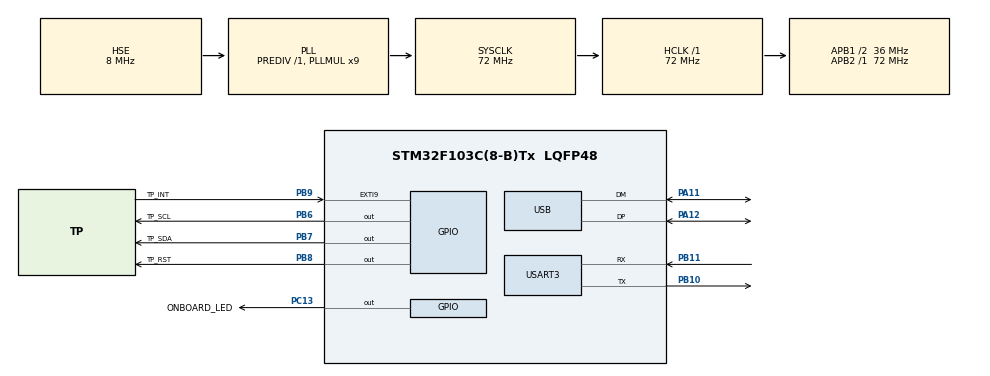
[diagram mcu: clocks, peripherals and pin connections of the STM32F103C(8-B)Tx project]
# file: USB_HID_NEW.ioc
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Mcu.Family=STM32F1
Mcu.Name=STM32F103C(8-B)Tx
Mcu.Package=LQFP48
NVIC.EXTI9_5_IRQn=true\:5\:0\:true\:false\:true\:true\:true\:true
NVIC.PriorityGroup=NVIC_PRIORITYGROUP_4
NVIC.USB_LP_CAN1_RX0_IRQn=true\:0\:0\:false\:false\:true\:false\:true\:true
PA11.Mode=Device
PA11.Signal=USB_DM
PA12.Mode=Device
PA12.Signal=USB_DP
PA13.Mode=Serial_Wire
PA13.Signal=SYS_JTMS-SWDIO
PA14.Mode=Serial_Wire
PA14.Signal=SYS_JTCK-SWCLK
PB10.Mode=Asynchronous
PB10.Signal=USART3_TX
PB11.Mode=Asynchronous
PB11.Signal=USART3_RX
PB6.GPIO_Label=TP_SCL
PB6.GPIO_ModeDefaultOutputPP=GPIO_MODE_OUTPUT_OD
PB6.GPIO_PuPd=GPIO_NOPULL
PB6.GPIO_Speed=GPIO_SPEED_FREQ_LOW
PB6.PinState=GPIO_PIN_SET
PB6.Signal=GPIO_Output
PB7.GPIO_Label=TP_SDA
PB7.GPIO_ModeDefaultOutputPP=GPIO_MODE_OUTPUT_OD
PB7.GPIO_PuPd=GPIO_NOPULL
PB7.GPIO_Speed=GPIO_SPEED_FREQ_LOW
PB7.PinState=GPIO_PIN_SET
PB7.Signal=GPIO_Output
PB8.GPIO_Label=TP_RST
PB8.PinState=GPIO_PIN_SET
PB8.Signal=GPIO_Output
PB9.GPIO_Label=TP_INT
PB9.GPIO_PuPd=GPIO_PULLDOWN
PB9.Signal=GPXTI9
PC13-TAMPER-RTC.GPIO_Label=ONBOARD_LED
PC13-TAMPER-RTC.GPIO_PuPd=GPIO_NOPULL
PC13-TAMPER-RTC.Signal=GPIO_Output
PD0-OSC_IN.Mode=HSE-External-Oscillator
PD0-OSC_IN.Signal=RCC_OSC_IN
PD1-OSC_OUT.Mode=HSE-External-Oscillator
PD1-OSC_OUT.Signal=RCC_OSC_OUT
ProjectManager.HeapSize=0x200
ProjectManager.StackSize=0x400
ProjectManager.TargetToolchain=STM32CubeIDE
RCC.AHBFreq_Value=72000000
RCC.APB1CLKDivider=RCC_HCLK_DIV2
RCC.APB1Freq_Value=36000000
RCC.APB1TimFreq_Value=72000000
RCC.APB2Freq_Value=72000000
RCC.APB2TimFreq_Value=72000000
RCC.HCLKFreq_Value=72000000
RCC.PLLMUL=RCC_PLL_MUL9
RCC.SYSCLKFreq_VALUE=72000000
RCC.SYSCLKSource=RCC_SYSCLKSOURCE_PLLCLK
RCC.USBFreq_Value=48000000
RCC.USBPrescaler=RCC_USBCLKSOURCE_PLL_DIV1_5
USART3.VirtualMode=VM_ASYNC
USB_DEVICE.CLASS_NAME_FS=HID
USB_DEVICE.VirtualMode=Hid
USB_DEVICE.VirtualModeFS=Hid_FS
VP_USB_DEVICE_VS_USB_DEVICE_HID_FS.Mode=HID_FS
board=custom

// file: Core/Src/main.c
/* USER CODE BEGIN Header */
/**
  ******************************************************************************
  * @file           : main.c
  * @brief          : Main program body
  ******************************************************************************
  * @attention
  *
  * Copyright (c) 2025 STMicroelectronics.
  * All rights reserved.
  *
  * This software is licensed under terms that can be found in the LICENSE file
  * in the root directory of this software component.
  * If no LICENSE file comes with this software, it is provided AS-IS.
  *
  ******************************************************************************
  */
/* USER CODE END Header */
#include "main.h"
#include "usb_device.h"

/* USER CODE BEGIN Includes */
#include <stdarg.h>
#include <stdio.h>identifier
#include "i2c.h"
#include "touch.h"
/* USER CODE END Includes */

UART_HandleTypeDef huart3;

void SystemClock_Config(void);
static void MX_GPIO_Init(void);
static void MX_USART3_UART_Init(void);
/* USER CODE BEGIN PFP */
int _write(int fd, char *str, int len)
{
	for(int i=0;i<len;i++)
	{
		//__io_putchar((*str++));
		HAL_UART_Transmit(&huart3, (uint8_t *)&str[i], 1, 0xFFFF);
	}
	return len;
}

void dbg_puts_impl(const char * s)
{
	char c;
	while ((c = * s ++) != '\0')
	{
		HAL_UART_Transmit(&huart3, & c, 1, 0xFFFF);
	}
}

void printf_p(const char *__restrict format, ... )
{
	char b [128];	// see stack sizes for interrupt handlers
	va_list	ap;
	extern UART_HandleTypeDef huart3;

	va_start(ap, format);
	vsnprintf(b, sizeof b / sizeof b [0], format, ap);
	va_end(ap);

	dbg_puts_impl(b);
}
/* USER CODE END PFP */

/* USER CODE BEGIN 0 */
volatile uint8_t rxITBuf;
volatile uint8_t rxBuf[100];
volatile uint8_t rxIn = 0;
volatile uint8_t rxOut = 0;
/* USER CODE END 0 */

int main(void)
{

  /* MCU Configuration--------------------------------------------------------*/

  /* Reset of all peripherals, Initializes the Flash interface and the Systick. */
  HAL_Init();

  /* Configure the system clock */
  SystemClock_Config();

  /* Initialize all configured peripherals */
  MX_GPIO_Init();
  MX_USART3_UART_Init();
  MX_USB_DEVICE_Init();
  /* USER CODE BEGIN 2 */
  initI2C();
  initTouch();
  HAL_UART_Receive_IT(&huart3, (uint8_t*)&rxITBuf, 1);

  printf_p("start\n\r");
  /* USER CODE END 2 */

  /* Infinite loop */
  /* USER CODE BEGIN WHILE */
  while (1)
  {
	  toucuProc();
    /* USER CODE END WHILE */

  }
}

void SystemClock_Config(void)
{
  RCC_OscInitTypeDef RCC_OscInitStruct = {0};
  RCC_ClkInitTypeDef RCC_ClkInitStruct = {0};
  RCC_PeriphCLKInitTypeDef PeriphClkInit = {0};

  /** Initializes the RCC Oscillators according to the specified parameters
  * in the RCC_OscInitTypeDef structure.
  */
  RCC_OscInitStruct.OscillatorType = RCC_OSCILLATORTYPE_HSE;
  RCC_OscInitStruct.HSEState = RCC_HSE_ON;
  RCC_OscInitStruct.HSEPredivValue = RCC_HSE_PREDIV_DIV1;
  RCC_OscInitStruct.HSIState = RCC_HSI_ON;
  RCC_OscInitStruct.PLL.PLLState = RCC_PLL_ON;
  RCC_OscInitStruct.PLL.PLLSource = RCC_PLLSOURCE_HSE;
  RCC_OscInitStruct.PLL.PLLMUL = RCC_PLL_MUL9;
  if (HAL_RCC_OscConfig(&RCC_OscInitStruct) != HAL_OK)
  {
    Error_Handler();
  }

  /** Initializes the CPU, AHB and APB buses clocks
  */
  RCC_ClkInitStruct.ClockType = RCC_CLOCKTYPE_HCLK|RCC_CLOCKTYPE_SYSCLK
                              |RCC_CLOCKTYPE_PCLK1|RCC_CLOCKTYPE_PCLK2;
  RCC_ClkInitStruct.SYSCLKSource = RCC_SYSCLKSOURCE_PLLCLK;
  RCC_ClkInitStruct.AHBCLKDivider = RCC_SYSCLK_DIV1;
  RCC_ClkInitStruct.APB1CLKDivider = RCC_HCLK_DIV2;
  RCC_ClkInitStruct.APB2CLKDivider = RCC_HCLK_DIV1;

  if (HAL_RCC_ClockConfig(&RCC_ClkInitStruct, FLASH_LATENCY_2) != HAL_OK)
  {
    Error_Handler();
  }
  PeriphClkInit.PeriphClockSelection = RCC_PERIPHCLK_USB;
  PeriphClkInit.UsbClockSelection = RCC_USBCLKSOURCE_PLL_DIV1_5;
  if (HAL_RCCEx_PeriphCLKConfig(&PeriphClkInit) != HAL_OK)
  {
    Error_Handler();
  }
}

static void MX_USART3_UART_Init(void)
{

  huart3.Instance = USART3;
  huart3.Init.BaudRate = 115200;
  huart3.Init.WordLength = UART_WORDLENGTH_8B;
  huart3.Init.StopBits = UART_STOPBITS_1;
  huart3.Init.Parity = UART_PARITY_NONE;
  huart3.Init.Mode = UART_MODE_TX_RX;
  huart3.Init.HwFlowCtl = UART_HWCONTROL_NONE;
  huart3.Init.OverSampling = UART_OVERSAMPLING_16;
  if (HAL_UART_Init(&huart3) != HAL_OK)
  {
    Error_Handler();
  }

}

static void MX_GPIO_Init(void)
{
  GPIO_InitTypeDef GPIO_InitStruct = {0};

  /* GPIO Ports Clock Enable */
  __HAL_RCC_GPIOC_CLK_ENABLE();
  __HAL_RCC_GPIOD_CLK_ENABLE();
  __HAL_RCC_GPIOB_CLK_ENABLE();
  __HAL_RCC_GPIOA_CLK_ENABLE();

  /*Configure GPIO pin Output Level */
  HAL_GPIO_WritePin(ONBOARD_LED_GPIO_Port, ONBOARD_LED_Pin, GPIO_PIN_RESET);

  /*Configure GPIO pin Output Level */
  HAL_GPIO_WritePin(GPIOB, TP_SCL_Pin|TP_SDA_Pin|TP_RST_Pin, GPIO_PIN_SET);

  /*Configure GPIO pin : ONBOARD_LED_Pin */
  GPIO_InitStruct.Pin = ONBOARD_LED_Pin;
  GPIO_InitStruct.Mode = GPIO_MODE_OUTPUT_PP;
  GPIO_InitStruct.Pull = GPIO_NOPULL;
  GPIO_InitStruct.Speed = GPIO_SPEED_FREQ_LOW;
  HAL_GPIO_Init(ONBOARD_LED_GPIO_Port, &GPIO_InitStruct);

  /*Configure GPIO pins : TP_SCL_Pin TP_SDA_Pin */
  GPIO_InitStruct.Pin = TP_SCL_Pin|TP_SDA_Pin;
  GPIO_InitStruct.Mode = GPIO_MODE_OUTPUT_OD;
  GPIO_InitStruct.Pull = GPIO_NOPULL;
  GPIO_InitStruct.Speed = GPIO_SPEED_FREQ_LOW;
  HAL_GPIO_Init(GPIOB, &GPIO_InitStruct);

  /*Configure GPIO pin : TP_RST_Pin */
  GPIO_InitStruct.Pin = TP_RST_Pin;
  GPIO_InitStruct.Mode = GPIO_MODE_OUTPUT_PP;
  GPIO_InitStruct.Pull = GPIO_NOPULL;
  GPIO_InitStruct.Speed = GPIO_SPEED_FREQ_LOW;
  HAL_GPIO_Init(TP_RST_GPIO_Port, &GPIO_InitStruct);

  /*Configure GPIO pin : TP_INT_Pin */
  GPIO_InitStruct.Pin = TP_INT_Pin;
  GPIO_InitStruct.Mode = GPIO_MODE_IT_RISING;
  GPIO_InitStruct.Pull = GPIO_PULLDOWN;
  HAL_GPIO_Init(TP_INT_GPIO_Port, &GPIO_InitStruct);

  /* EXTI interrupt init*/
  HAL_NVIC_SetPriority(EXTI9_5_IRQn, 5, 0);
  HAL_NVIC_EnableIRQ(EXTI9_5_IRQn);

}

/* USER CODE BEGIN 4 */
void HAL_UART_RxCpltCallback(UART_HandleTypeDef *huart)
{
	if(huart->Instance == USART3)
	{
		rxBuf[rxIn] = rxITBuf;
		rxIn++;
		if(rxIn >= 100)
			rxIn = 0;
		HAL_UART_Receive_IT(huart, (uint8_t*)&rxITBuf, 1);
	}
}
/* USER CODE END 4 */

void Error_Handler(void)
{
  __disable_irq();
  while (1)
  {
  }
}
